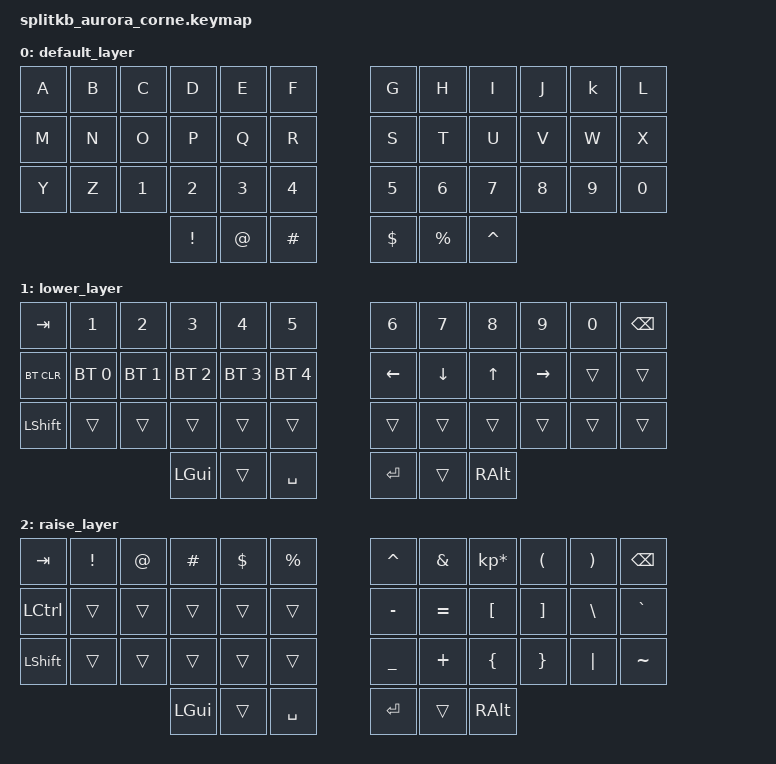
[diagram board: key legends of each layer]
/*
 * Copyright (c) 2020 The ZMK Contributors
 *
 * SPDX-License-Identifier: MIT
 */

#include <behaviors.dtsi>
#include <dt-bindings/zmk/keys.h>
#include <dt-bindings/zmk/bt.h>

/ {
        keymap {
                compatible = "zmk,keymap";

                default_layer {
// -----------------------------------------------------------------------------------------
// |  TAB |  Q  |  W  |  E  |  R  |  T  |   |  Y  |  U   |  I  |  O  |  P  | BKSP |
// | CTRL |  A  |  S  |  D  |  F  |  G  |   |  H  |  J   |  K  |  L  |  ;  |  '   |
// | SHFT |  Z  |  X  |  C  |  V  |  B  |   |  N  |  M   |  ,  |  .  |  /  | ESC  |
//                    | GUI | LWR | SPC |   | ENT | RSE  | ALT |
                        bindings = <
   &kp A   &kp B   &kp C         &kp D        &kp E    &kp F   &kp G &kp H  &kp I     &kp J   &kp k    &kp L
   &kp M   &kp N   &kp O         &kp P        &kp Q    &kp R   &kp S &kp T  &kp U     &kp V   &kp W &kp X
   &kp Y   &kp Z   &kp NUMBER_1  &kp NUMBER_2 &kp NUMBER_3 &kp NUMBER_4   &kp NUMBER_5 &kp NUMBER_6  &kp NUMBER_7 &kp NUMBER_8 &kp NUMBER_9 &kp NUMBER_0
                   &kp EXCL      &kp AT       &kp HASH &kp DLLR &kp PRCNT   &kp CARET
                        >;
                };
                lower_layer {
// -----------------------------------------------------------------------------------------
// |  TAB |  1  |  2  |  3  |  4  |  5  |   |  6  |  7  |  8  |  9  |  0  | BKSP |
// | BTCLR| BT1 | BT2 | BT3 | BT4 | BT5 |   | LFT | DWN |  UP | RGT |     |      |
// | SHFT |     |     |     |     |     |   |     |     |     |     |     |      |
//                    | GUI |     | SPC |   | ENT |     | ALT |
                        bindings = <
   &kp TAB    &kp N1       &kp N2       &kp N3       &kp N4       &kp N5         &kp N6   &kp N7   &kp N8 &kp N9    &kp N0 &kp BSPC
   &bt BT_CLR &bt BT_SEL 0 &bt BT_SEL 1 &bt BT_SEL 2 &bt BT_SEL 3 &bt BT_SEL 4   &kp LEFT &kp DOWN &kp UP &kp RIGHT &trans &trans
   &kp LSHFT  &trans       &trans       &trans       &trans       &trans         &trans   &trans   &trans &trans    &trans &trans
                          	        &kp LGUI     &trans       &kp SPACE      &kp RET  &trans   &kp RALT
                        >;
                };

                raise_layer {
// -----------------------------------------------------------------------------------------
// |  TAB |  !  |  @  |  #  |  $  |  %  |   |  ^  |  &  |  *  |  (  |  )  | BKSP |
// | CTRL |     |     |     |     |     |   |  -  |  =  |  [  |  ]  |  \  |  `   |
// | SHFT |     |     |     |     |     |   |  _  |  +  |  {  |  }  | "|" |  ~   |
//                    | GUI |     | SPC |   | ENT |     | ALT |
                        bindings = <
   &kp  TAB  &kp EXCL &kp AT &kp HASH &kp DLLR &kp PRCNT   &kp CARET &kp AMPS  &kp KP_MULTIPLY &kp LPAR &kp RPAR &kp BSPC
   &kp LCTRL &trans   &trans &trans   &trans   &trans      &kp MINUS &kp EQUAL &kp LBKT        &kp RBKT &kp BSLH &kp GRAVE
   &kp LSHFT &trans   &trans &trans   &trans   &trans      &kp UNDER &kp PLUS  &kp LBRC        &kp RBRC &kp PIPE &kp TILDE
                    	     &kp LGUI &trans   &kp SPACE   &kp RET   &trans    &kp RALT
                        >;
                };
        };
};
